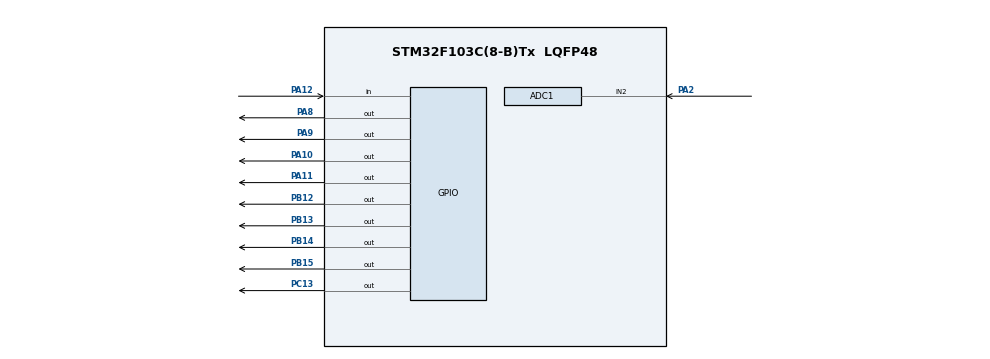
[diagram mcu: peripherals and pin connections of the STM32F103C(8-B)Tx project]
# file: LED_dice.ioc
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ADC1.Channel-0\#ChannelRegularConversion=ADC_CHANNEL_2
ADC1.NbrOfConversionFlag=1
ADC1.Rank-0\#ChannelRegularConversion=1
ADC1.SamplingTime-0\#ChannelRegularConversion=ADC_SAMPLETIME_28CYCLES_5
ADC1.master=1
Mcu.Family=STM32F1
Mcu.Name=STM32F103C(8-B)Tx
Mcu.Package=LQFP48
NVIC.PriorityGroup=NVIC_PRIORITYGROUP_4
PA10.Signal=GPIO_Output
PA11.Signal=GPIO_Output
PA12.Signal=GPIO_Input
PA2.Signal=ADCx_IN2
PA8.Signal=GPIO_Output
PA9.Signal=GPIO_Output
PB12.Signal=GPIO_Output
PB13.Signal=GPIO_Output
PB14.Signal=GPIO_Output
PB15.Signal=GPIO_Output
PC13-TAMPER-RTC.Signal=GPIO_Output
ProjectManager.HeapSize=0x200
ProjectManager.StackSize=0x400
ProjectManager.TargetToolchain=STM32CubeIDE
RCC.APB1Freq_Value=8000000
RCC.APB2Freq_Value=8000000
SH.ADCx_IN2.0=ADC1_IN2,IN2
VP_SYS_VS_ND.Mode=No_Debug
board=custom

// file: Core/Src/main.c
/* USER CODE BEGIN Header */
/**
  ******************************************************************************
  * @file           : main.c
  * @brief          : Main program body
  ******************************************************************************
  * @attention
  *
  * Copyright (c) 2024 STMicroelectronics.
  * All rights reserved.
  *
  * This software is licensed under terms that can be found in the LICENSE file
  * in the root directory of this software component.
  * If no LICENSE file comes with this software, it is provided AS-IS.
  *
  ******************************************************************************
  */
/* USER CODE END Header */
#include "main.h"

/* USER CODE BEGIN Includes */
#include <time.h>
#include <stdlib.h>
#include <7seg.h>
/* USER CODE END Includes */

ADC_HandleTypeDef hadc1;

void SystemClock_Config(void);
static void MX_GPIO_Init(void);
static void MX_ADC1_Init(void);
/* USER CODE BEGIN PFP */
void SystemClock_Config(void);
static void MX_GPIO_Init(void);
/* USER CODE END PFP */

int main(void)
{

  /* USER CODE BEGIN 1 */
  /* Random number to be generated between 1-6*/
  int Random_Number = 0;
  /* ADC raw values for rand() seed*/
  int raw = 0;
  /* USER CODE END 1 */

  /* MCU Configuration--------------------------------------------------------*/

  /* Reset of all peripherals, Initializes the Flash interface and the Systick. */
  HAL_Init();

  /* Configure the system clock */
  SystemClock_Config();

  /* Initialize all configured peripherals */
  MX_GPIO_Init();
  MX_ADC1_Init();
  /* USER CODE BEGIN 2 */

  /*This piece of code reads a tri-state pin and sets a random seed*/
  HAL_ADC_Start(&hadc1);
  HAL_ADC_PollForConversion(&hadc1, HAL_MAX_DELAY);
  raw = HAL_ADC_GetValue(&hadc1);
  srand(raw);
  /* USER CODE END 2 */

  /* Infinite loop */
  while (1)
  {

    /* USER CODE BEGIN 3 */

    // IF Button Is Pressed, get a random value
      if(HAL_GPIO_ReadPin(GPIOB, GPIO_PIN_6))
      {
          Clear_Display_Animation();
          /* random int between 1 and 6 */
          Random_Number = (rand() % 6) + 1;
          Display_Number(Random_Number);
          HAL_GPIO_WritePin(GPIOC, GPIO_PIN_13, GPIO_PIN_RESET);
          HAL_Delay(500);
      }
      else
      {
          // Else .. Turn LED OFF!
          // HAL_GPIO_WritePin(GPIOB, GPIO_PIN_15, GPIO_PIN_RESET);
      }

  }
  /* USER CODE END 3 */
}

void SystemClock_Config(void)
{
  RCC_OscInitTypeDef RCC_OscInitStruct = {0};
  RCC_ClkInitTypeDef RCC_ClkInitStruct = {0};
  RCC_PeriphCLKInitTypeDef PeriphClkInit = {0};

  /** Initializes the RCC Oscillators according to the specified parameters
  * in the RCC_OscInitTypeDef structure.
  */
  RCC_OscInitStruct.OscillatorType = RCC_OSCILLATORTYPE_HSI;
  RCC_OscInitStruct.HSIState = RCC_HSI_ON;
  RCC_OscInitStruct.HSICalibrationValue = RCC_HSICALIBRATION_DEFAULT;
  RCC_OscInitStruct.PLL.PLLState = RCC_PLL_NONE;
  if (HAL_RCC_OscConfig(&RCC_OscInitStruct) != HAL_OK)
  {
    Error_Handler();
  }

  /** Initializes the CPU, AHB and APB buses clocks
  */
  RCC_ClkInitStruct.ClockType = RCC_CLOCKTYPE_HCLK|RCC_CLOCKTYPE_SYSCLK
                              |RCC_CLOCKTYPE_PCLK1|RCC_CLOCKTYPE_PCLK2;
  RCC_ClkInitStruct.SYSCLKSource = RCC_SYSCLKSOURCE_HSI;
  RCC_ClkInitStruct.AHBCLKDivider = RCC_SYSCLK_DIV1;
  RCC_ClkInitStruct.APB1CLKDivider = RCC_HCLK_DIV1;
  RCC_ClkInitStruct.APB2CLKDivider = RCC_HCLK_DIV1;

  if (HAL_RCC_ClockConfig(&RCC_ClkInitStruct, FLASH_LATENCY_0) != HAL_OK)
  {
    Error_Handler();
  }
  PeriphClkInit.PeriphClockSelection = RCC_PERIPHCLK_ADC;
  PeriphClkInit.AdcClockSelection = RCC_ADCPCLK2_DIV2;
  if (HAL_RCCEx_PeriphCLKConfig(&PeriphClkInit) != HAL_OK)
  {
    Error_Handler();
  }
}

static void MX_ADC1_Init(void)
{

  ADC_ChannelConfTypeDef sConfig = {0};

  /** Common config
  */
  hadc1.Instance = ADC1;
  hadc1.Init.ScanConvMode = ADC_SCAN_DISABLE;
  hadc1.Init.ContinuousConvMode = DISABLE;
  hadc1.Init.DiscontinuousConvMode = DISABLE;
  hadc1.Init.ExternalTrigConv = ADC_SOFTWARE_START;
  hadc1.Init.DataAlign = ADC_DATAALIGN_RIGHT;
  hadc1.Init.NbrOfConversion = 1;
  if (HAL_ADC_Init(&hadc1) != HAL_OK)
  {
    Error_Handler();
  }

  /** Configure Regular Channel
  */
  sConfig.Channel = ADC_CHANNEL_2;
  sConfig.Rank = ADC_REGULAR_RANK_1;
  sConfig.SamplingTime = ADC_SAMPLETIME_28CYCLES_5;
  if (HAL_ADC_ConfigChannel(&hadc1, &sConfig) != HAL_OK)
  {
    Error_Handler();
  }

}

static void MX_GPIO_Init(void)
{
  GPIO_InitTypeDef GPIO_InitStruct = {0};

  /* GPIO Ports Clock Enable */
  __HAL_RCC_GPIOC_CLK_ENABLE();
  __HAL_RCC_GPIOA_CLK_ENABLE();
  __HAL_RCC_GPIOB_CLK_ENABLE();

  /*Configure GPIO pin Output Level */
  HAL_GPIO_WritePin(GPIOC, GPIO_PIN_13, GPIO_PIN_RESET);

  /*Configure GPIO pin Output Level */
  HAL_GPIO_WritePin(GPIOB, GPIO_PIN_12|GPIO_PIN_13|GPIO_PIN_14|GPIO_PIN_15, GPIO_PIN_RESET);

  /*Configure GPIO pin Output Level */
  HAL_GPIO_WritePin(GPIOA, GPIO_PIN_8|GPIO_PIN_9|GPIO_PIN_10|GPIO_PIN_11, GPIO_PIN_RESET);

  /*Configure GPIO pin : PC13 */
  GPIO_InitStruct.Pin = GPIO_PIN_13;
  GPIO_InitStruct.Mode = GPIO_MODE_OUTPUT_PP;
  GPIO_InitStruct.Pull = GPIO_NOPULL;
  GPIO_InitStruct.Speed = GPIO_SPEED_FREQ_LOW;
  HAL_GPIO_Init(GPIOC, &GPIO_InitStruct);

  /*Configure GPIO pins : PB12 PB13 PB14 PB15 */
  GPIO_InitStruct.Pin = GPIO_PIN_12|GPIO_PIN_13|GPIO_PIN_14|GPIO_PIN_15;
  GPIO_InitStruct.Mode = GPIO_MODE_OUTPUT_PP;
  GPIO_InitStruct.Pull = GPIO_NOPULL;
  GPIO_InitStruct.Speed = GPIO_SPEED_FREQ_LOW;
  HAL_GPIO_Init(GPIOB, &GPIO_InitStruct);

  /*Configure GPIO pins : PA8 PA9 PA10 PA11 */
  GPIO_InitStruct.Pin = GPIO_PIN_8|GPIO_PIN_9|GPIO_PIN_10|GPIO_PIN_11;
  GPIO_InitStruct.Mode = GPIO_MODE_OUTPUT_PP;
  GPIO_InitStruct.Pull = GPIO_NOPULL;
  GPIO_InitStruct.Speed = GPIO_SPEED_FREQ_LOW;
  HAL_GPIO_Init(GPIOA, &GPIO_InitStruct);

  /*Configure GPIO pin : PA12 */
  GPIO_InitStruct.Pin = GPIO_PIN_12;
  GPIO_InitStruct.Mode = GPIO_MODE_INPUT;
  GPIO_InitStruct.Pull = GPIO_NOPULL;
  HAL_GPIO_Init(GPIOA, &GPIO_InitStruct);

/* USER CODE BEGIN MX_GPIO_Init_2 */
/*Configure GPIO pin : PB6 */
  GPIO_InitStruct.Pin = GPIO_PIN_6;
  GPIO_InitStruct.Mode = GPIO_MODE_INPUT;
  GPIO_InitStruct.Pull = GPIO_PULLDOWN;
  HAL_GPIO_Init(GPIOB, &GPIO_InitStruct);
/* USER CODE END MX_GPIO_Init_2 */
}

void Error_Handler(void)
{
  __disable_irq();
  while (1)
  {
  }
}
